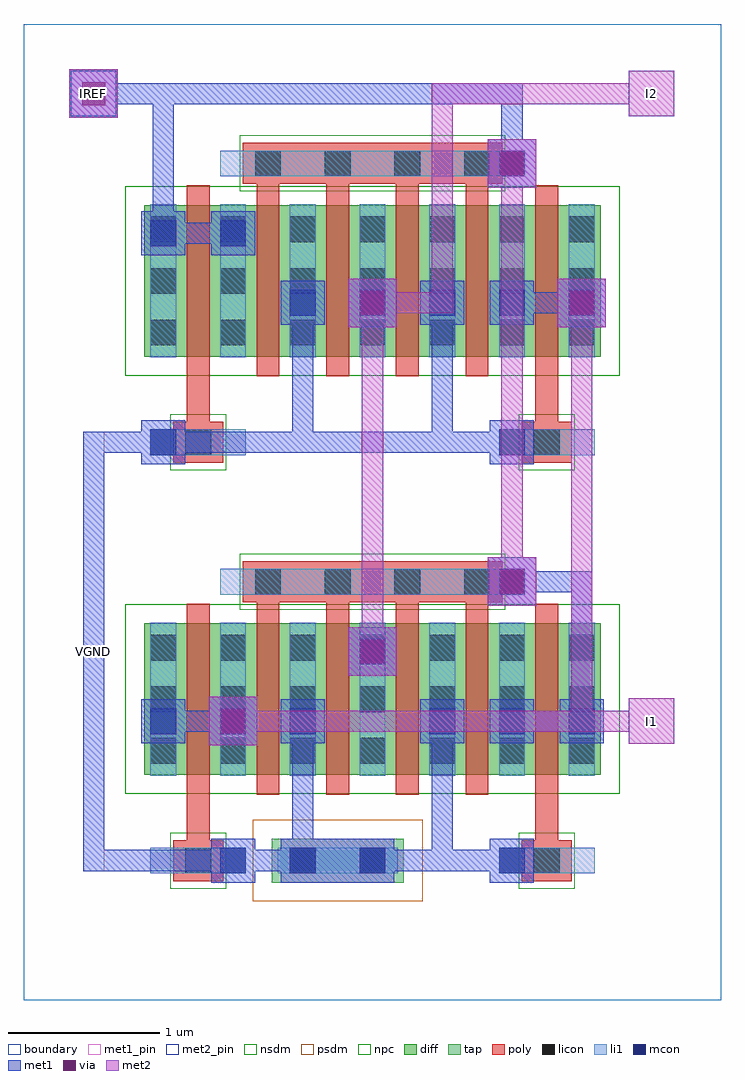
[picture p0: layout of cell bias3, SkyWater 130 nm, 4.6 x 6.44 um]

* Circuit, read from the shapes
.subckt bias3 I1 I2 IREF VGND
XM1 I1 VGND I1 VGND sky130_fd_pr__nfet_01v8 w=1 l=0.15 m=2
XM2 IREF VGND IREF VGND sky130_fd_pr__nfet_01v8 w=1 l=0.15 m=2
XM3 VGND IREF I1 VGND sky130_fd_pr__nfet_01v8 w=1 l=0.15 m=2
XM4 VGND IREF IREF VGND sky130_fd_pr__nfet_01v8 w=1 l=0.15 m=2
XM5 I2 IREF VGND VGND sky130_fd_pr__nfet_01v8 w=1 l=0.15 m=4
.ends

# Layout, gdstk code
import gdstk
lib = gdstk.Library(unit=1e-6, precision=1e-09)
def R(c, l, rs):  # rectangles x0, y0, x1, y1
    for r in rs: c.add(gdstk.rectangle(r[:2], r[2:], *l))
def A(c, l, x, y, w, h, nx, ny, dx, dy):  # array of equal rectangles
    R(c, l, [(x+i*dx, y+j*dy, x+i*dx+w, y+j*dy+h) for i in range(nx) for j in range(ny)])
diff = (65, 20)
tap = (65, 44)
poly = (66, 20)
licon = (66, 44)
li1 = (67, 20)
mcon = (67, 44)
met1_pin = (68, 16)
met1 = (68, 20)
via = (68, 44)
met2_pin = (69, 16)
met2 = (69, 20)
nsdm = (93, 44)
psdm = (94, 20)
npc = (95, 20)
boundary = (235, 4)

bias3 = lib.new_cell('bias3')
R(bias3, diff, [(0.795,1.485,3.805,2.485), (0.795,4.245,3.805,5.245)])
R(bias3, tap, [(1.635,0.775,2.505,1.065)])
A(bias3, poly, 1.535, 1.355, 0.15, 1.405, 4, 2, 0.46, 2.76)
R(bias3, poly, [(0.985,0.785,1.315,1.055), (3.285,0.785,3.615,1.055), (1.075,0.92,1.225,2.615), (3.375,0.92,3.525,2.615), (1.445,2.625,3.155,2.895), (0.985,3.545,1.315,3.815), (3.285,3.545,3.615,3.815), (1.075,3.68,1.225,5.375), (3.375,3.68,3.525,5.375), (1.445,5.385,3.155,5.655)])
A(bias3, licon, 0.835, 1.56, 0.17, 0.17, 7, 3, 0.46, 0.34)
A(bias3, licon, 1.525, 2.675, 0.17, 0.17, 4, 2, 0.46, 2.76)
A(bias3, licon, 0.835, 4.32, 0.17, 0.17, 7, 3, 0.46, 0.34)
R(bias3, licon, [(1.065,0.835,1.235,1.005), (1.755,0.835,1.925,1.005), (2.215,0.835,2.385,1.005), (3.365,0.835,3.535,1.005), (1.065,3.595,1.235,3.765), (3.365,3.595,3.535,3.765)])
A(bias3, li1, 0.835, 1.48, 0.17, 1.01, 7, 2, 0.46, 2.76)
R(bias3, li1, [(0.835,0.835,1.465,1.005), (1.675,0.835,2.465,1.005), (3.135,0.835,3.765,1.005), (1.295,2.675,3.305,2.845), (0.835,3.595,1.465,3.765), (3.135,3.595,3.765,3.765), (1.295,5.435,3.305,5.605)])
A(bias3, mcon, 1.295, 0.835, 0.17, 0.17, 3, 1, 0.46, 0)
A(bias3, mcon, 0.835, 1.755, 0.17, 0.17, 3, 1, 0.46, 0)
A(bias3, mcon, 2.675, 1.755, 0.17, 0.17, 3, 1, 0.46, 0)
A(bias3, mcon, 1.755, 4.515, 0.17, 0.17, 5, 1, 0.46, 0)
R(bias3, mcon, [(3.135,0.835,3.305,1.005), (2.215,2.215,2.385,2.385), (3.135,2.675,3.305,2.845), (0.835,3.595,1.005,3.765), (3.135,3.595,3.305,3.765), (0.835,4.975,1.005,5.145), (1.295,4.975,1.465,5.145), (3.135,5.435,3.305,5.605)])
R(bias3, met1_pin, [(0.39,0.85,0.53,3.75)])
A(bias3, met1, 0.775, 1.695, 0.29, 0.29, 3, 1, 0.46, 0)
A(bias3, met1, 2.615, 1.695, 0.29, 0.29, 3, 1, 0.46, 0)
A(bias3, met1, 1.695, 4.455, 0.29, 0.29, 5, 1, 0.46, 0)
R(bias3, met1, [(1.235,0.775,1.525,1.065), (1.695,0.775,2.445,1.065), (3.075,0.775,3.365,1.065), (0.39,0.85,1.45,0.99), (0.39,0.85,0.53,3.75), (1.31,0.85,1.91,0.99), (1.77,0.85,1.91,1.91), (1.77,0.85,1.91,0.99), (1.77,0.85,3.29,0.99), (2.69,0.85,2.83,1.91), (1.22,1.68,1.54,2), (0.85,1.77,1.45,1.91), (3.15,1.77,3.75,1.91), (3.61,1.77,3.75,2.83), (2.14,2.14,2.46,2.46), (2.155,2.155,2.445,2.445), (3.06,2.6,3.38,2.92), (3.075,2.615,3.365,2.905), (3.15,2.69,3.75,2.83), (0.775,3.535,1.065,3.825), (3.075,3.535,3.365,3.825), (0.39,3.61,0.99,3.75), (0.85,3.61,1.91,3.75), (1.77,3.61,1.91,4.67), (1.77,3.61,3.29,3.75), (2.69,3.61,2.83,4.67), (2.14,4.44,2.46,4.76), (3.52,4.44,3.84,4.76), (3.15,4.53,3.75,4.67), (0.775,4.915,1.065,5.205), (1.235,4.915,1.525,5.205), (0.85,4.99,1.45,5.13), (0.85,4.99,0.99,6.05), (3.06,5.36,3.38,5.68), (3.075,5.375,3.365,5.665), (3.15,5.45,3.29,6.05), (0.3,5.82,0.62,6.14), (0.39,5.91,0.99,6.05), (0.85,5.91,3.29,6.05)])
R(bias3, via, [(1.305,1.765,1.455,1.915), (2.225,2.225,2.375,2.375), (3.145,2.685,3.295,2.835), (2.225,4.525,2.375,4.675), (3.605,4.525,3.755,4.675), (3.145,5.445,3.295,5.595), (0.385,5.905,0.535,6.055)])
R(bias3, met2_pin, [(3.99,1.69,4.29,1.99), (0.31,5.83,0.61,6.13), (3.99,5.83,4.29,6.13)])
R(bias3, met2, [(1.22,1.68,1.54,2), (3.99,1.69,4.29,1.99), (1.31,1.77,4.21,1.91), (3.61,1.77,3.75,4.67), (4.07,1.77,4.21,1.91), (2.14,2.14,2.46,2.46), (2.23,2.23,2.37,4.67), (3.06,2.6,3.38,2.92), (3.15,2.69,3.29,5.59), (2.14,4.44,2.46,4.76), (3.52,4.44,3.84,4.76), (2.23,4.53,2.83,4.67), (2.69,4.53,2.83,6.05), (3.06,5.36,3.38,5.68), (0.3,5.82,0.62,6.14), (0.31,5.83,0.61,6.13), (3.99,5.83,4.29,6.13), (0.39,5.91,0.53,6.05), (2.69,5.91,4.21,6.05), (4.07,5.91,4.21,6.05)])
R(bias3, nsdm, [(0.67,1.36,3.93,2.61), (0.67,4.12,3.93,5.37)])
R(bias3, psdm, [(1.51,0.65,2.63,1.19)])
R(bias3, npc, [(0.965,0.735,1.335,1.105), (3.265,0.735,3.635,1.105), (1.425,2.575,3.175,2.945), (0.965,3.495,1.335,3.865), (3.265,3.495,3.635,3.865), (1.425,5.335,3.175,5.705)])
R(bias3, boundary, [(0,0,4.6,6.44)])
bias3.add(gdstk.Label('VGND', (0.46,2.3), layer=68, texttype=5))
bias3.add(gdstk.Label('IREF', (0.46,5.98), layer=69, texttype=5))
bias3.add(gdstk.Label('I1', (4.14,1.84), layer=69, texttype=5))
bias3.add(gdstk.Label('I2', (4.14,5.98), layer=69, texttype=5))
bias3.add(gdstk.Label('VGND', (0.46,2.3), layer=68, texttype=16))
bias3.add(gdstk.Label('IREF', (0.46,5.98), layer=69, texttype=16))
bias3.add(gdstk.Label('I1', (4.14,1.84), layer=69, texttype=16))
bias3.add(gdstk.Label('I2', (4.14,5.98), layer=69, texttype=16))

lib.write_gds('bias3.gds')
